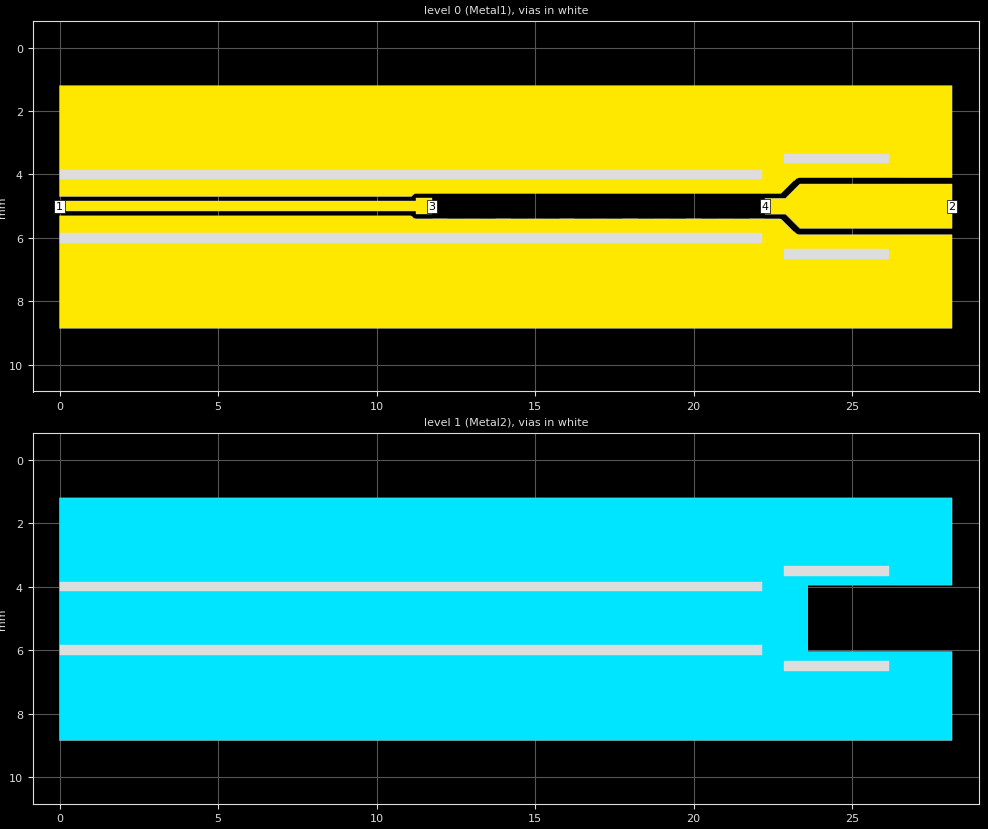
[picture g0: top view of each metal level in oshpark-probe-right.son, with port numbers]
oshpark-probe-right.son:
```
FTYP SONPROJ 17 ! Sonnet Project File
VER 17.52.2
HEADER
LIC antikernel2.1.48685 90e2ba8817c0 havequick azonenberg
DAT 05/20/2020 16:32:59
BUILT_BY_CREATED dxf 17.52.2 05/01/2020 05:35:06
BUILT_BY_SAVED sonnet 17.52.2
MDATE 05/20/2020 16:32:36
HDATE 05/20/2020 16:32:36
ANN Created by dxfgeo, Sonnet Software Inc.
END HEADER
DIM
ANG DEG
CAP PF
CON /OH
FREQ GHZ
IND NH
LNG MM
RES OH
END DIM
CONTROL
VARSWP
OPTIONS  -dj
SPEED 1
CACHE_ABS 1
Q_ACC N
END CONTROL
GEO
SYM
TMET "Free Space" 0 FREESPACE 376.7303136 0 0 0
BMET "Free Space" 0 FREESPACE 376.7303136 0 0 0
MET "Unknown_metal" 1 NOR INF 0.5 0 
MET "Copper 1oz thick" 2 TMM 58000000 0.5 0.035 2
MET "Nickel " 3 TMM 14300000 0.5 0.035 2
MET "Copper 0.5oz" 1 NOR 58000000 0.5 0.017 
MET "Unknown_metal" 1 VOL INF 0
BRI "Alumina (96%)" 0 9.4 0.0004 0 
BRI "Alumina (99.5%)" 0 9.9 0.0001 0 
BRI "Aluminum Nitride" 0 8.6 0.0003 0 
BRI "Arlon 25FR" 0 3.58 0.0035 0 
BRI "Arlon 25N" 0 3.38 0.0025 0 
BRI "Arlon AD5" 0 5.1 0.003 0 
BRI "Arlon AD10" 0 10.2 0.005 0 
BRI "Arlon AD250" 0 2.5 0.0018 0 
BRI "Arlon AD255A" 0 2.55 0.0015 0 
BRI "Arlon AD260A" 0 2.6 0.0018 0 
BRI "Arlon AD270" 0 2.7 0.0023 0 
BRI "Arlon AD300A" 0 3 0.002 0 
BRI "Arlon AD320A" 0 3.2 0.0032 0 
BRI "Arlon AD350A" 0 3.5 0.003 0 
BRI "Arlon AD410" 0 4.1 0.003 0 
BRI "Arlon AD430" 0 4.3 0.003 0 
BRI "Arlon AD450" 0 4.5 0.0035 0 
BRI "Arlon AD600" 0 6.15 0.003 0 
BRI "Arlon AD1000" 0 10.2 0.0023 0 
BRI "Arlon AR1000" 0 9.8 0.003 0 
BRI "Arlon CLTE" 0 2.96 0.0023 0 
BRI "Arlon CLTE-AT" 0 3 0.0013 0 
BRI "Arlon CLTE-P" 0 2.94 0.0025 0 
BRI "Arlon CLTE-XT" 0 2.94 0.0012 0 
BRI "Arlon Cu 217LX" 0 2.17 0.0009 0 
BRI "Arlon Cu 233LX" 0 2.33 0.0013 0 
BRI "Arlon Cu 250GT" 0 2.5 0.001 0 
BRI "Arlon Cu 250GX" 0 2.5 0.0018 0 
BRI "Arlon Cu 6250" 0 2.32 0.0013 0 
BRI "Arlon Cu 6700" 0 2.35 0.0025 0 
BRI "Arlon Di 522" 0 2.5 0.001 0 
BRI "Arlon Di 527" 0 2.5 0.0018 0 
BRI "Arlon Di 870" 0 2.33 0.0013 0 
BRI "Arlon Di 880" 0 2.17 0.0009 0 
BRI "Arlon Iso 917" 0 2.17 0.0013 0 
BRI "Arlon Iso 933" 0 2.33 0.0016 0 
BRI "Arlon Multi HF" 0 3.7 0.004 0 
BRI "Arlon TC350" 0 3.5 0.002 0 
BRI "Arlon TC600" 0 6.15 0.002 0 
BRI "Beryllia (99.5%)" 0 6.5 0.0004 0 
BRI "CEM-1" 0 4.5 0.02 0 
BRI "CEM-3" 0 4.5 0.02 0 
BRI "Dupont 9K7" 0 7.1 0.0012 0 
BRI "Dupont 943" 0 7.4 0.002 0 
BRI "Dupont 951" 0 7.8 0.006 0 
BRI "Dupont FEP" 0 2 0.0005 0 
BRI "Dupont Vacrel" 0 3.8 0.011 0 
BRI "ESL 41010" 0 7.5 0.005 0 
BRI "ESL 41020" 0 7.25 0.005 0 
BRI "ESL 41050" 0 13.5 0.002 0 
BRI "ESL 41060" 0 16.5 0.002 0 
BRI "ESL 41110" 0 4.5 0.004 0 
BRI "Ferro A6M" 0 5.9 0.002 0 
BRI "Ferro A6S" 0 5.9 0.002 0 
BRI "Ferro L8" 0 7.3 0.0018 0 
BRI "FR-4" 0 4.4 0.02 0 
BRI "G-10" 0 4.8 0.025 0 
BRI "Gallium Arsenide" 0 12.9 0.006 0 
BRI "Gallium Nitride" 0 9.7 0 0 
BRI "Glass (Pyrex)" 0 4.82 0.0054 0 
BRI "Heraeus HL2000" 0 7.3 0.0026 0 
BRI "Isola 370HR" 0 4.04 0.021 0 
BRI "Isola FR408" 0 3.77 0.0116 0 
BRI "Isola FR408HR" 0 3.68 0.0092 0 
BRI "Isola Getek" 0 3.6 0.01 0 
BRI "Isola GI-180" 0 3.7 0.013 0 
BRI "Isola IS415" 0 3.82 0.0125 0 
BRI "Isola IS620i" 0 3.58 0.006 0 
BRI "Isola IS680-280" 0 2.8 0.0025 0 
BRI "Isola IS680-300" 0 3 0.003 0 
BRI "Isola IS680-320" 0 3.2 0.003 0 
BRI "Isola IS680-333" 0 3.33 0.003 0 
BRI "Isola IS680-338" 0 3.38 0.0032 0 
BRI "Isola IS680-345" 0 3.45 0.0036 0 
BRI "Kerafol CT800" 0 5.3 0.008 0 
BRI "Nelco MW9350" 0 3.7 0.004 0 
BRI "Nelco N4000-12" 0 3.7 0.008 0 
BRI "Nelco N4000-13" 0 3.7 0.009 0 
BRI "Nelco N4000-13SI" 0 3.2 0.007 0 
BRI "Nelco N4000-13EP" 0 3.7 0.008 0 
BRI "Nelco N4350-13RF" 0 3.5 0.0065 0 
BRI "Nelco N4380-13RF" 0 3.8 0.007 0 
BRI "Nelco N9300-13RF" 0 3 0.004 0 
BRI "Nelco N9320-13RF" 0 3.2 0.0045 0 
BRI "Nelco N9338-13RF" 0 3.38 0.0046 0 
BRI "Nelco N9350-13RF" 0 3.48 0.0055 0 
BRI "Nelco NH9294" 0 2.94 0.0022 0 
BRI "Nelco NH9300" 0 3 0.0023 0 
BRI "Nelco NH9320" 0 3.2 0.0024 0 
BRI "Nelco NH9338" 0 3.38 0.0025 0 
BRI "Nelco NH9348" 0 3.48 0.003 0 
BRI "Nelco NH9350" 0 3.5 0.003 0 
BRI "Nelco NH9410" 0 4.1 0.003 0 
BRI "Nelco NH9450" 0 4.5 0.003 0 
BRI "Nelco NX9240" 0 2.4 0.0016 0 
BRI "Nelco NX9245" 0 2.45 0.0016 0 
BRI "Nelco NX9250" 0 2.5 0.0017 0 
BRI "Nelco NX9255" 0 2.55 0.0018 0 
BRI "Nelco NX9260" 0 2.6 0.0019 0 
BRI "Nelco NY9208" 0 2.08 0.0006 0 
BRI "Nelco NY9217" 0 2.17 0.0008 0 
BRI "Nelco NY9220" 0 2.2 0.0009 0 
BRI "Nelco NY9233" 0 2.33 0.0011 0 
BRI "PET" 0 3.37 0.0208 0 
BRI "Polyimide" 0 3.5 0.003 0 
BRI "Quartz (Fused)" 0 3.78 0.0001 0 
BRI "Rogers 3001" 0 2.28 0.003 0 
BRI "Rogers RO2808" 0 7.6 0.0015 0 
BRI "Rogers RO3003" 0 3 0.0013 0 
BRI "Rogers RO3006" 0 6.5 0.002 0 
BRI "Rogers RO3010" 0 11.2 0.0022 0 
BRI "Rogers RO3035" 0 3.6 0.0018 0 
BRI "Rogers RO3203" 0 3.02 0.0016 0 
BRI "Rogers RO3206" 0 6.6 0.0027 0 
BRI "Rogers RO3210" 0 10.8 0.0027 0 
BRI "Rogers RO3730" 0 3 0.0016 0 
BRI "Rogers RO4003C" 0 3.55 0.0029 0 
BRI "Rogers RO4533" 0 3.45 0.0029 0 
BRI "Rogers RO4534" 0 3.4 0.003 0 
BRI "Rogers RO4350B" 0 3.66 0.0037 0 
BRI "Rogers RO4350BTX" 0 3.66 0.0034 0 
BRI "Rogers RO4360" 0 6.15 0.0038 0 
BRI "Rogers RO4450B-3.6" 0 3.3 0.0043 0 
BRI "Rogers RO4450B-4" 0 3.54 0.004 0 
BRI "Rogers RO4450F" 0 3.52 0.0041 0 
BRI "Rogers RO4730" 0 3 0.0033 0 
BRI "Rogers RT5870" 0 2.33 0.0012 0 
BRI "Rogers RT5880" 0 2.2 0.0009 0 
BRI "Rogers RT5880LZ" 0 1.96 0.0019 0 
BRI "Rogers RT6002" 0 2.94 0.0012 0 
BRI "Rogers RT6006" 0 6.15 0.0027 0 
BRI "Rogers RT6010LM" 0 10.9 0.0023 0 
BRI "Rogers RT6035HTC" 0 3.6 0.0013 0 
BRI "Rogers RT6202" 0 2.94 0.0015 0 
BRI "Rogers RT6202PR" 0 2.95 0.0015 0 
BRI "Rogers Syron7000" 0 3.4 0.0045 0 
BRI "Rogers Syron7100-2" 0 3.61 0.006 0 
BRI "Rogers Syron7100-4" 0 3.39 0.005 0 
BRI "Rogers Theta" 0 4.01 0.0118 0 
BRI "Rogers TMM 3" 0 3.39 0.002 0 
BRI "Rogers TMM 4" 0 4.5 0.002 0 
BRI "Rogers TMM 6" 0 6 0.0023 0 
BRI "Rogers TMM 10" 0 9.56 0.0022 0 
BRI "Rogers TMM 10i" 0 9.96 0.002 0 
BRI "Rogers UL2000" 0 2.5 0.0019 0 
BRI "Rogers UL3850" 0 3.05 0.0025 0 
BRI "Rogers UL3908" 0 2.9 0.0025 0 
BRI "Rogers XT8000" 0 3.34 0.0035 0 
BRI "Rogers XT8100-2" 0 3.54 0.0049 0 
BRI "Rogers XT8100-4" 0 3.32 0.0038 0 
BRI "Silicon (intrinsic)" 0 11.9 0.004 0.00044 
BRI "Silicon Dioxide" 0 3.9 0 0 
BRI "Silicon Nitride" 0 7.5 0 0 
BRI "Taconic CER-10" 0 10 0.0035 0 
BRI "Taconic FastFilm" 0 2.7 0.0012 0 
BRI "Taconic Fastrise-DS" 0 2.96 0.0018 0 
BRI "Taconic Fastrise27" 0 2.7 0.0014 0 
BRI "Taconic Fastrise77" 0 7.7 0.0034 0 
BRI "Taconic FEP" 0 2 0.0003 0 
BRI "Taconic RF-30" 0 3 0.0014 0 
BRI "Taconic RF-35" 0 3.5 0.0018 0 
BRI "Taconic RF-35A2" 0 3.5 0.0011 0 
BRI "Taconic RF-35P" 0 3.5 0.0025 0 
BRI "Taconic RF-41" 0 4.1 0.0038 0 
BRI "Taconic RF-43" 0 4.3 0.0033 0 
BRI "Taconic RF-45" 0 4.5 0.0037 0 
BRI "Taconic RF-60A" 0 6.15 0.0038 0 
BRI "Taconic RF-301" 0 2.97 0.0012 0 
BRI "Taconic TacBond HT" 0 2.35 0.0025 0 
BRI "Taconic TLA-6" 0 2.62 0.0012 0 
BRI "Taconic TLC-27" 0 2.75 0.003 0 
BRI "Taconic TLC-30" 0 3 0.003 0 
BRI "Taconic TLC-32" 0 3.2 0.003 0 
BRI "Taconic TLE-95" 0 2.95 0.0028 0 
BRI "Taconic TLF-34" 0 3.4 0.002 0 
BRI "Taconic TLF-35" 0 3.5 0.002 0 
BRI "Taconic TLP-3" 0 2.33 0.0009 0 
BRI "Taconic TLP-5" 0 2.2 0.0009 0 
BRI "Taconic TLP-5A" 0 2.17 0.0009 0 
BRI "Taconic TLT-0" 0 2.45 0.0006 0 
BRI "Taconic TLT-9" 0 2.5 0.0006 0 
BRI "Taconic TLT-8" 0 2.55 0.0006 0 
BRI "Taconic TLT-7" 0 2.6 0.0006 0 
BRI "Taconic TLT-6" 0 2.65 0.0006 0 
BRI "Taconic TLX-0" 0 2.45 0.0019 0 
BRI "Taconic TLX-9" 0 2.5 0.0019 0 
BRI "Taconic TLX-8" 0 2.55 0.0019 0 
BRI "Taconic TLX-7" 0 2.6 0.0019 0 
BRI "Taconic TLX-6" 0 2.65 0.0019 0 
BRI "Taconic TLY-3" 0 2.33 0.0009 0 
BRI "Taconic TLY-3F" 0 2.33 0.0009 0 
BRI "Taconic TLY-5" 0 2.2 0.0009 0 
BRI "Taconic TLY-5-L" 0 2.2 0.0009 0 
BRI "Taconic TLY-5A" 0 2.17 0.0009 0 
BRI "Taconic TLY-5A-L" 0 2.17 0.0009 0 
BRI "Taconic TPG-30" 0 3 0.0038 0 
BRI "Taconic TPG-32" 0 3.2 0.005 0 
BRI "Taconic TPG-35" 0 3.5 0.005 0 
BRI "Taconic TRF-41" 0 4.1 0.0035 0 
BRI "Taconic TRF-43" 0 4.3 0.0035 0 
BRI "Taconic TRF-45" 0 4.5 0.0035 0 
BRI "Taconic TSM-DS" 0 2.85 0.001 0 
BRI "Taconic TSM-DS3" 0 3 0.0011 0 
BRI "Taconic TSM-26" 0 2.6 0.0014 0 
BRI "Taconic TSM-29" 0 2.94 0.0013 0 
BRI "Taconic TSM-30" 0 3 0.0013 0 
BRI "Teflon (PTFE)" 0 2.08 0.0004 0 
BOX 2 28.15 10 1126 400 20 0
      1 1 1 0 0 0 0 "Air"
      0.16 3.6 1 0.0092 0 0 0 "Isola FR408HR"
      1 1 1 0 0 0 0 "Air"
TECHLAY METAL Metal1 BLACK -2 0 
0 0 1 N 0 1 1 100 100 0 0 0 Y
END
END
TECHLAY METAL Metal2 BLACK -3 0 
1 0 3 N 0 1 1 100 100 0 0 0 Y
END
END
TECHLAY VIA Via1 <UNSPECIFIED> -4 0 
VIA POLYGON
1 0 -1 N 0 1 1 100 100 0 0 0 Y
TOLEVEL 0 RING NOCOVERS
END
END
LORGN 0 10 U 
POR1 BOX
POLY 1236 1
2
2 50 0 0 0 28.15000153 5 
POR1 CUP Auto
SIMPLE Y
GNDREF AUTO
TERMW FEED
POLY 1236 1
16
4 50 0 0 0 22.2494011 4.993849755 
CUPGRP "Auto" LOCAL
ID 1239
END
POR1 CUP Auto
SIMPLE Y
GNDREF AUTO
TERMW FEED
POLY 1242 1
7
3 50 0 0 0 11.75 5 
CUPGRP "Auto" LOCAL
ID 1244
END
POR1 BOX
POLY 1242 1
3
1 50 0 0 0 0 5 
NUM 10
0 30 1 N 1236 1 1 100 100 0 0 0 Y
TLAYNAM Metal1 INH
USER_DAT FromImport
23.34999847 5.69540024
23.34999847 5.70000076
28.15000153 5.70000076
28.15000153 4.29999924
23.34999847 4.29999924
23.34999847 4.30470085
23.34760284 4.30590057
23.34349823 4.30809975
23.33940125 4.31130028
23.33589935 4.31419945
22.91459656 4.73539925
22.91169739 4.73889923
22.90869904 4.74250031
22.90630341 4.74699974
22.90460205 4.75
22.25 4.75
22.25 4.98769951
22.24880219 5
22.25 5.01230049
22.25 5.25
22.90470123 5.25
22.90589905 5.25239944
22.90809631 5.25650024
22.91130066 5.26059914
22.91419983 5.26409912
23.33540344 5.68540001
23.33889771 5.68829918
23.34249878 5.69129944
23.34700012 5.69370079
23.34999847 5.69540024
END
0 63 1 N 1240 1 1 100 100 0 0 0 Y
TLAYNAM Metal1 INH
11.06890106 4.69470024
11.07219696 4.69470024
11.07620239 4.69400024
11.0802002 4.6935997
11.08329773 4.69260025
11.08660126 4.69199944
11.09030151 4.69050026
11.09420013 4.68930054
11.0970993 4.68779945
11.10019684 4.68659973
11.10359955 4.68440056
11.10710144 4.68250084
11.10970306 4.68040085
11.11239624 4.67860031
11.11530304 4.67580032
11.11849976 4.67320061
11.12059784 4.67070007
11.12290192 4.66839981
11.1434021 4.64340019
11.16629791 4.62470055
11.19229889 4.61070061
11.22059631 4.60219955
11.25370026 4.59889984
11.74629974 4.59889984
11.75733696 4.6
11.9 4.6
11.9 4.59889984
22.15 4.59889984
22.15 4.6
22.24266304 4.6
22.25370026 4.59889984
22.72000122 4.59889984
22.72689819 4.59819984
22.7338028 4.59760094
22.74120331 4.59550095
22.74790192 4.59350014
22.75469971 4.59000015
22.7609024 4.58679962
22.76689911 4.58200073
22.77230072 4.57769966
23.1473999 4.20260048
23.15019989 4.20030022
23.15529633 4.19879913
23.15779877 4.19829941
23.16490173 4.19549942
23.1713028 4.1928997
23.17780304 4.18869972
23.18360138 4.18490028
23.18910217 4.17950058
23.19409943 4.17469978
23.207901 4.15789986
23.23829651 4.13290024
23.27310181 4.11429977
23.31079865 4.10289955
23.35369873 4.09869957
26.55 4.09869957
26.55 4.1
28.15 4.1
28.15 1.2
0 1.2
0 4.69499969
11.06559753 4.69499969
11.06890106 4.69470024
END
0 120 1 N 1241 1 1 100 100 0 0 0 Y
TLAYNAM Metal1 INH
28.15 7.3
28.15 5.9
26.55 5.9
26.55 5.90130043
23.35369873 5.90130043
23.31079865 5.89710045
23.27310181 5.88570023
23.23829651 5.86709976
23.207901 5.84210014
23.19480133 5.8260994
23.18990326 5.82130051
23.18499756 5.81629944
23.17870331 5.81189919
23.17299652 5.80800056
23.16590118 5.80500031
23.15950012 5.80220032
23.15589905 5.80139923
23.15019989 5.79969978
23.1473999 5.79739952
22.77310181 5.42309952
22.7677002 5.41869926
22.76239777 5.41419983
22.75569916 5.41049957
22.74960327 5.40719986
22.74220276 5.40480042
22.73560333 5.40270042
22.72799683 5.40189934
22.72109985 5.40110016
22.25370026 5.40110016
22.22059631 5.39780045
21.77940369 5.39780045
21.74629974 5.40110016
21.25370026 5.40110016
21.24629974 5.40040016
21.24310303 5.40040016
21.23999786 5.39999962
20.76100159 5.39999962
20.75789642 5.40029907
20.75469971 5.40029907
20.74629974 5.40110016
20.25370026 5.40110016
20.22059631 5.39780045
19.77940369 5.39780045
19.74629974 5.40110016
19.25370026 5.40110016
19.24629974 5.40040016
19.24310303 5.40040016
19.23999786 5.39999962
18.76100159 5.39999962
18.75789642 5.40029907
18.75469971 5.40029907
18.74629974 5.40110016
18.25370026 5.40110016
18.22059631 5.39780045
17.77940369 5.39780045
17.74629974 5.40110016
17.25370026 5.40110016
17.24629974 5.40040016
17.24310303 5.40040016
17.23999786 5.39999962
16.76100159 5.39999962
16.75789642 5.40029907
16.75469971 5.40029907
16.74629974 5.40110016
16.25370026 5.40110016
16.22059631 5.39780045
15.77940369 5.39780045
15.74629974 5.40110016
15.25370026 5.40110016
15.24629974 5.40040016
15.24310303 5.40040016
15.23999786 5.39999962
14.76100159 5.39999962
14.75789642 5.40029907
14.75469971 5.40029907
14.74629974 5.40110016
14.25370026 5.40110016
14.22059631 5.39780045
13.77940369 5.39780045
13.74629974 5.40110016
13.25370026 5.40110016
13.24629974 5.40040016
13.24310303 5.40040016
13.23999786 5.39999962
12.76100159 5.39999962
12.75789642 5.40029907
12.75469971 5.40029907
12.74629974 5.40110016
12.25370026 5.40110016
12.22059631 5.39780045
11.77940369 5.39780045
11.74629974 5.40110016
11.25370026 5.40110016
11.22059631 5.39780045
11.19229889 5.38929939
11.16629791 5.37529945
11.1434021 5.35659981
11.12359619 5.33239937
11.12129974 5.33009911
11.11920166 5.32749939
11.1160965 5.32489967
11.11319733 5.32209969
11.11049652 5.32019997
11.10800171 5.31809998
11.10440063 5.31620026
11.10109711 5.31389999
11.09809875 5.31270027
11.09519958 5.31110001
11.09130096 5.30979919
11.08760071 5.30830002
11.08439636 5.30760002
11.08119965 5.30660057
11.07720184 5.30620003
11.07319641 5.30540085
11.06990051 5.30540085
11.0667038 5.30500031
0 5.30500031
0 8.85
28.15 8.85
28.15 7.3
END
0 9 1 N 1242 1 1 100 100 0 0 0 Y
TLAYNAM Metal1 INH
USER_DAT FromImport
11.75 4.75
11.25 4.75
11.25 4.84499931
0 4.84499931
0 5.15500069
11.25 5.15500069
11.25 5.25
11.75 5.25
11.75 4.75
END
VIA POLYGON
0 5 -1 N 1247 1 1 100 100 0 0 0 Y
TOLEVEL 1 RING NOCOVERS
22.85 3.35
26.15 3.35
26.15 3.65
22.85 3.65
22.85 3.35
END
VIA POLYGON
0 5 -1 N 1248 1 1 100 100 0 0 0 Y
TOLEVEL 1 RING NOCOVERS
22.85 6.35
26.15 6.35
26.15 6.65
22.85 6.65
22.85 6.35
END
0 5 -1 N 1249 1 1 100 100 0 0 0 Y
23.05 6.6
23.1 6.6
23.1 6.65
23.05 6.65
23.05 6.6
END
1 20 3 N 1252 1 1 100 100 0 0 0 Y
TLAYNAM Metal2 INH
28.15 7.3
28.15 6.95
28.15 6.05
27.85320979 6.05
27.85320282 6.04999924
23.60250092 6.04999924
23.60019684 6.04980087
23.59999847 6.04750061
23.59999847 3.95249939
23.60019684 3.95019913
23.60250092 3.95000076
27.85250092 3.95000076
27.85250804 3.95
28.15 3.95
28.15 1.35
28.15 1.2
0 1.2
0 8.85
28.15 8.85
28.15 7.3
END
VIA POLYGON
1 5 -1 N 1254 1 1 100 100 0 0 0 Y
TOLEVEL 0 RING NOCOVERS
TLAYNAM Via1 INH
22.15 3.85
0 3.85
0 4.15
22.15 4.15
22.15 3.85
END
VIA POLYGON
1 5 -1 N 1255 1 1 100 100 0 0 0 Y
TOLEVEL 0 RING NOCOVERS
TLAYNAM Via1 INH
22.15 5.84999962
0 5.84999962
0 6.14999962
22.15 6.14999962
22.15 5.84999962
END
END GEO
OPT
MAX 100
END OPT
VARSWP
ENABLED Y
FREQ Y AY ABS_ENTRY 0.1 6.0 -1 300 
END
END VARSWP
```
